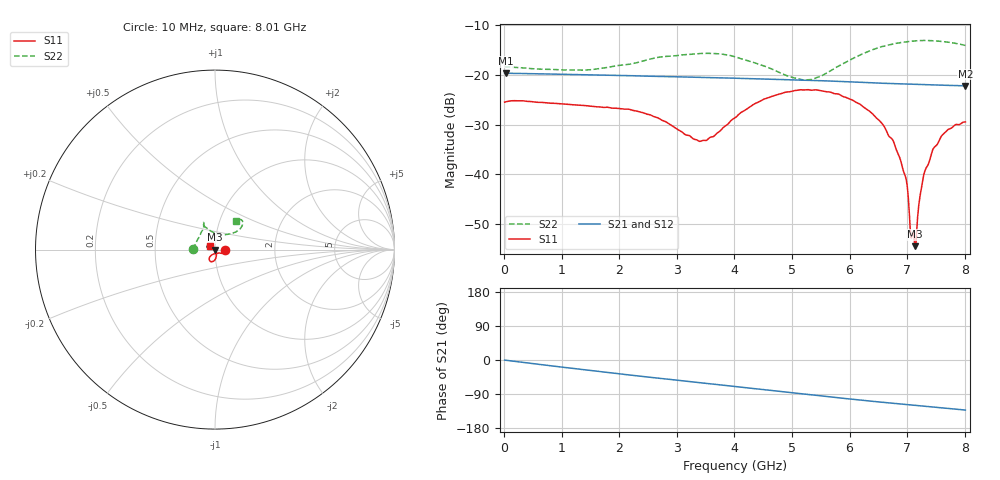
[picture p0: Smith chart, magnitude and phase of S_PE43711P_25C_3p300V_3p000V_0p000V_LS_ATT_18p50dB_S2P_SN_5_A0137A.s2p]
! Device ID: PE43711P
! File Path: z:\PE43711P\CHAR_NOM_04282014\AMB\3p300\LS_ATT_18p50dB\PE43711P_AMB_3p300V_3p000V_0p000V_LS_ATT_18p50dB_S2P_SN_5_A0137A.s2p
! Serial: 5
! Lot: A0137A
! Temp: 25C
! VDD: 3.300
! VSS: 0.000
! Control_Hi: 3.000
! Control_Lo: 0.000
! Attenuation Step: 18.50dB
! Port 1: RF1
! Port 2: RF2
! ThroughPath:1-2
! IDD: 0.0001271987
! ISS: -7.97e-008
#  Hz  S  RI  R  50
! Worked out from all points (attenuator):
!   801 points, 10 MHz to 8.01 GHz, reference 50 ohm
!   highest |S21| = -19.69 dB at 30 MHz (marker M1); lowest = -22.2 dB at 8.01 GHz (marker M2)
!   lowest |S11| = -54.5 dB at 7.14 GHz (marker M3), VSWR 1.00, Z = 49.8 - j0.0354 ohm
!   |S11| at or under -10 dB: start of sweep to end of sweep
!   |S22| runs from -21.0 to -13.1 dB; largest |S21 - S12| = 0.00022
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1e7  0.0532 0.000165  0.1037 -0.000452  0.1038 -0.000501  -0.121 0.000936
3e7  0.0537 5.31e-05  0.1036 -0.00108  0.1037 -0.0011  -0.1204 0.00207
1.35e9  0.0457 -0.0187  0.0913 -0.0423  0.0914 -0.0424  -0.094 0.06
2.68e9  0.031 -0.0197  0.0646 -0.0716  0.0646 -0.0716  -0.0632 0.1362
3.41e9  0.0056 -0.0207  0.0467 -0.0816  0.0468 -0.0816  -0.0631 0.1514
3.65e9  -0.00509 -0.0237  0.0408 -0.0841  0.0409 -0.0841  -0.0654 0.1503
4.01e9  -0.0197 -0.0313  0.0313 -0.087  0.0313 -0.0871  -0.0646 0.1376
4.52e9  -0.0315 -0.0477  0.0178 -0.0891  0.0178 -0.0891  -0.0405 0.1158
5.35e9  -0.0219 -0.0666  -0.00344 -0.0877  -0.00341 -0.0878  0.0323 0.0841
6.17e9  0.00316 -0.0509  -0.0225 -0.0812  -0.0226 -0.0812  0.1211 0.1011
6.54e9  0.0079 -0.0326  -0.0297 -0.0769  -0.0297 -0.077  0.1459 0.1236
6.68e9  0.00678 -0.0233  -0.0321 -0.0753  -0.0321 -0.0754  0.1505 0.1321
6.78e9  0.00657 -0.0189  -0.0338 -0.0741  -0.0338 -0.0741  0.1534 0.138
6.95e9  0.00274 -0.00984  -0.0367 -0.0721  -0.0366 -0.0721  0.1544 0.1472
6.99e9  0.00295 -0.0078  -0.0373 -0.0716  -0.0373 -0.0716  0.1551 0.1488
7.08e9  -0.0012 -0.00206  -0.0388 -0.0704  -0.0388 -0.0705  0.1542 0.1543
7.11e9  -0.00186 -0.00174  -0.0393 -0.0701  -0.0393 -0.0702  0.1538 0.1553
7.14e9  -0.00186 -0.000356  -0.0398 -0.0697  -0.0398 -0.0697  0.1538 0.1567
7.27e9  -0.00591 0.00643  -0.0419 -0.068  -0.0418 -0.068  0.1508 0.1626
7.45e9  -0.0121 0.0133  -0.0447 -0.0655  -0.0446 -0.0655  0.143 0.1675
7.68e9  -0.0195 0.019  -0.0478 -0.0622  -0.0478 -0.0622  0.1319 0.1692
8.01e9  -0.0259 0.0213  -0.052 -0.0575  -0.0522 -0.0574  0.1175 0.1588
